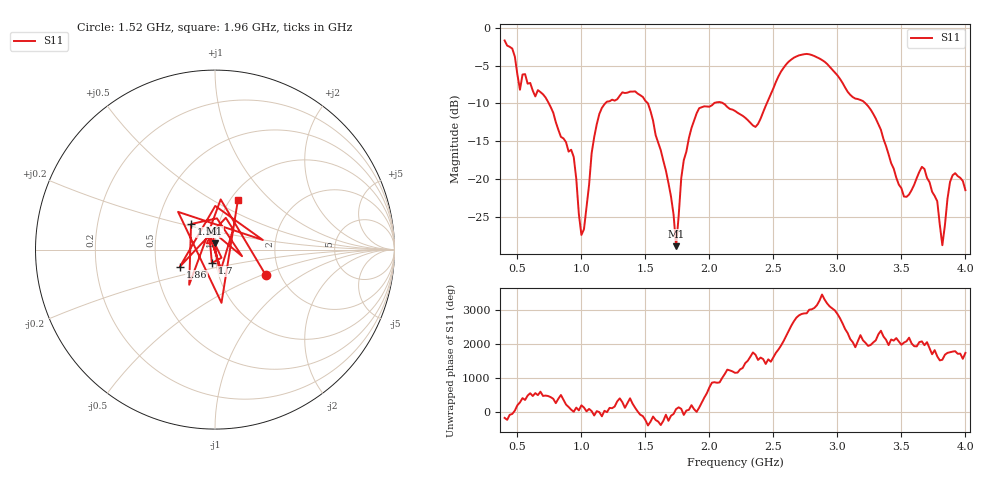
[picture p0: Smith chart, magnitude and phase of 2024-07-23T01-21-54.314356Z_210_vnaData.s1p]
!Created with skrf (http://scikit-rf.org).
# Hz S RI R 50.0
!freq ReS11 ImS11
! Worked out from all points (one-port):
!   181 points, 400 MHz to 4 GHz, reference 50 ohm
!   lowest |S11| = -28.9 dB at 1.74 GHz (marker M1), VSWR 1.07, Z = 49.6 + j3.56 ohm
!   |S11| at or under -10 dB: 745.9 MHz to 1.186 GHz (439.8 MHz wide, 45.5 % of centre); 1.52 GHz to 2.035 GHz (514.6 MHz wide, 29 % of centre); 3.221 GHz to end of sweep (the widest 3 of 4)
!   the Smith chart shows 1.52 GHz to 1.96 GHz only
!   S11 on the Smith chart (normalised r, x): 1.52 GHz: 1.68, -0.53; 1.58 GHz: 0.74, +0.22; 1.7 GHz: 0.96, -0.14; 1.86 GHz: 0.66, -0.13; 1.96 GHz: 1.09, +0.66
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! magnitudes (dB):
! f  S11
! 400 MHz  -1.7
! 480 MHz  -3.8
! 520 MHz  -8.2
! 560 MHz  -6.1
! 860 MHz  -14.6
! 940 MHz  -17.1
! 1 GHz  -27.4
! 1.14 GHz  -11.4
! 1.3 GHz  -9.0
! 1.52 GHz  -10.0
! 1.58 GHz  -14.2
! 1.7 GHz  -22.3
! 1.74 GHz  -28.9
! 1.76 GHz  -24.9
! 1.8 GHz  -17.5
! 1.86 GHz  -13.2
! 1.96 GHz  -10.4
! 2.2 GHz  -11.0
! 2.36 GHz  -13.1
! 2.66 GHz  -3.9
! 3.1 GHz  -8.8
! 3.28 GHz  -11.4
! 3.56 GHz  -22.1
! 3.68 GHz  -18.7
! 3.78 GHz  -22.9
! 3.82 GHz  -28.8
! 3.9 GHz  -19.5
! 4 GHz  -21.5
